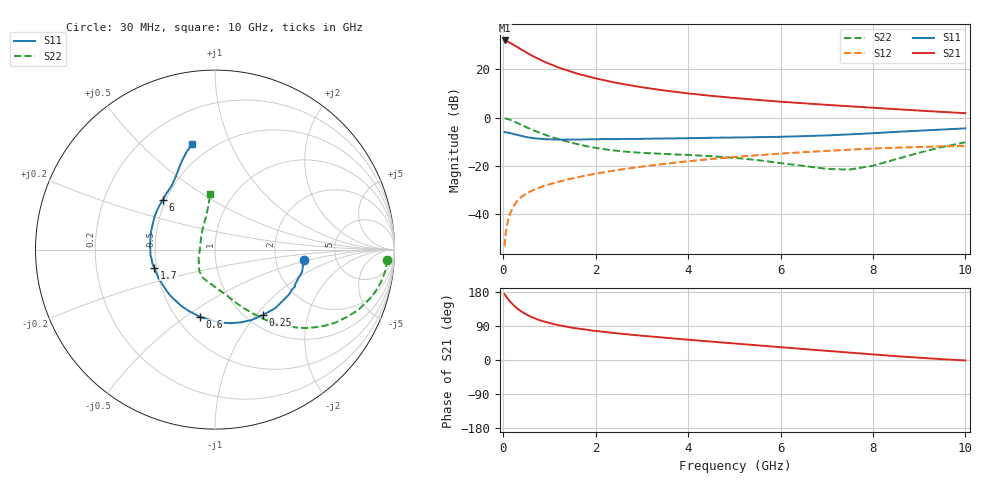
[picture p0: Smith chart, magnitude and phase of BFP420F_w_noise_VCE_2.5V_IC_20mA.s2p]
! Infineon Technologies  Discrete & RF Semiconductors
! BFP420F
! VCE =  2.5 V,  IC =  20 mA
! Common Emitter S-Parameters:  Sep 2011
# GHz  S  MA  R  50
!  f  S11  S21  S12  S22
! GHz  MAG  ANG  MAG  ANG  MAG  ANG  MAG  ANG
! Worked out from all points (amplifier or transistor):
!   54 points, 30 MHz to 10 GHz, reference 50 ohm
!   highest |S21| = 31.9 dB at 30 MHz (marker M1)
!   |S21| within 3 dB of that: start of sweep to 328.2 MHz
!   unconditionally stable (mu >= 1): 1.654 GHz to end of sweep
!   at 120 MHz: K = 0.26, MSG = 36.4 dB, |S12| = -41.5 dB
!   at 1.3 GHz: K = 0.90, MSG = 23.0 dB, |S12| = -26.0 dB
!   at 10 GHz: K = 1.24, MAG = 3.8 dB, |S12| = -11.6 dB
!   lowest NFmin = 1.53 dB at 450 MHz
!   S11 on the Smith chart (normalised r, x): 30 MHz: 2.93, -0.46; 250 MHz: 1.19, -1.09; 600 MHz: 0.65, -0.57; 1.7 GHz: 0.49, -0.11; 6 GHz: 0.48, +0.32; 10 GHz: 0.40, +0.73
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0.03  0.5012 -6.7  39.54 173.7  0.0022 88.9  0.9597 -3.4
0.05  0.4982 -10.7  38.85 169.7  0.0038 90.6  0.9583 -6.0
0.07  0.4975 -16.6  38.56 166.7  0.0052 84.9  0.9508 -8.7
0.12  0.483 -27.3  36.65 158.2  0.0084 80.0  0.9229 -14.7
0.15  0.4774 -33.9  35.22 154.0  0.0104 78.1  0.9019 -18.0
0.2  0.4684 -44.0  33.1 147.7  0.0135 75.5  0.8639 -23.1
0.25  0.4524 -53.6  30.93 141.7  0.0161 72.7  0.8217 -27.4
0.3  0.4418 -62.7  29.1 136.5  0.0188 70.4  0.7827 -31.4
0.4  0.4192 -78.2  25.38 127.5  0.0232 66.9  0.7051 -37.9
0.5  0.3974 -91.3  22.31 120.3  0.027 64.6  0.6361 -43.2
0.6  0.3833 -102.8  19.68 114.3  0.0302 63.0  0.5754 -47.5
0.8  0.3661 -121.0  15.78 104.6  0.0363 61.5  0.4825 -54.2
1  0.3576 -134.4  12.98 97.7  0.0419 61.1  0.4125 -59.5
1.3  0.3509 -149.5  10.1 89.6  0.0501 60.7  0.3379 -66.2
1.7  0.3534 -163.6  7.698 81.7  0.061 60.4  0.2698 -74.6
2.4  0.3595 -179.7  5.358 71.1  0.0805 58.8  0.2098 -89.5
3.5  0.371 163.1  3.638 58.8  0.1113 54.8  0.1773 -107.5
5.5  0.3949 141.6  2.331 38.7  0.1673 43.6  0.1329 -132.9
6  0.4021 136.1  2.145 33.9  0.1807 40.5  0.1152 -141.6
7  0.4296 124.3  1.843 24.2  0.2058 34.0  0.087 -172.5
8.5  0.5087 112.5  1.499 10.1  0.2396 23.4  0.1382 119.3
10  0.6005 102.3  1.241 -1.2  0.262 14.1  0.3103 95.0
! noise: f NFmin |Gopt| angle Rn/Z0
0.45  1.53  0.18  -179  0.15
0.9  1.54  0.18  -179  0.17
1.9  1.66  0.26  -170  0.15
2.4  1.72  0.27  -165  0.11
3.5  1.96  0.29  -155  0.15
